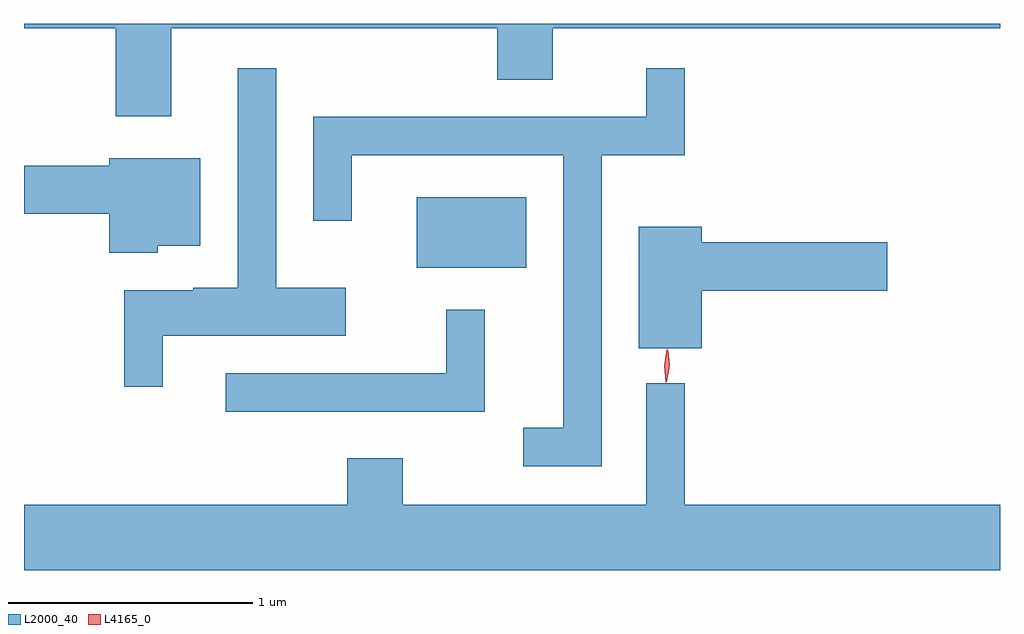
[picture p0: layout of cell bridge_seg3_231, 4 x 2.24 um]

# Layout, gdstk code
import gdstk
lib = gdstk.Library(unit=1e-6, precision=1e-09)
def R(c, l, rs):  # rectangles x0, y0, x1, y1
    for r in rs: c.add(gdstk.rectangle(r[:2], r[2:], *l))
def P(c, l, *ps):  # polygons
    for p in ps: c.add(gdstk.Polygon(p, *l))
L2000_40 = (2000, 40)
L4165_0 = (4165, 0)

bridge_seg3_231 = lib.new_cell('bridge_seg3_231')
R(bridge_seg3_231, L2000_40, [(985.786,1133.916,986.234,1134.204)])
P(bridge_seg3_231, L2000_40, [(984.779,1134.896),(986.116,1134.896),(986.116,1134.686),(986.344,1134.686),(986.344,1134.896),(988.176,1134.896),(988.176,1134.915),(984.176,1134.915),(984.176,1134.896),(984.551,1134.896),(984.551,1134.536),(984.779,1134.536)],
  [(986.544,1134.376),(986.884,1134.376),(986.884,1134.733),(986.726,1134.733),(986.726,1134.534),(985.361,1134.534),(985.361,1134.108),(985.519,1134.108),(985.519,1134.376),(986.386,1134.376),(986.386,1133.259),(986.223,1133.259),(986.223,1133.101),(986.544,1133.101)],
  [(984.744,1133.636),(985.494,1133.636),(985.494,1133.834),(985.209,1133.834),(985.209,1134.733),(985.051,1134.733),(985.051,1133.834),(984.87,1133.834),(984.87,1133.824),(984.586,1133.824),(984.586,1133.428),(984.744,1133.428)],
  [(984.724,1134.006),(984.899,1134.006),(984.899,1134.364),(984.526,1134.364),(984.526,1134.334),(984.176,1134.334),(984.176,1134.136),(984.526,1134.136),(984.526,1133.976),(984.724,1133.976)],
  [(986.954,1133.821),(987.714,1133.821),(987.714,1134.019),(986.954,1134.019),(986.954,1134.084),(986.696,1134.084),(986.696,1133.586),(986.954,1133.586)],
  [(986.064,1133.743),(985.906,1133.743),(985.906,1133.484),(985.003,1133.484),(985.003,1133.326),(986.064,1133.326)],
  [(988.176,1132.944),(986.884,1132.944),(986.884,1133.443),(986.726,1133.443),(986.726,1132.944),(985.729,1132.944),(985.729,1133.134),(985.501,1133.134),(985.501,1132.944),(984.176,1132.944),(984.176,1132.676),(988.176,1132.676)])
P(bridge_seg3_231, L4165_0, [(986.809,1133.448),(986.808,1133.449),(986.803,1133.514),(986.816,1133.579),(986.817,1133.58),(986.817,1133.579),(986.823,1133.513),(986.81,1133.449)],
  [(986.806,1133.445),(986.806,1133.446),(986.799,1133.514),(986.811,1133.582),(986.811,1133.582),(986.812,1133.582),(986.819,1133.513),(986.807,1133.446)])

lib.write_gds('bridge_seg3_231.gds')
